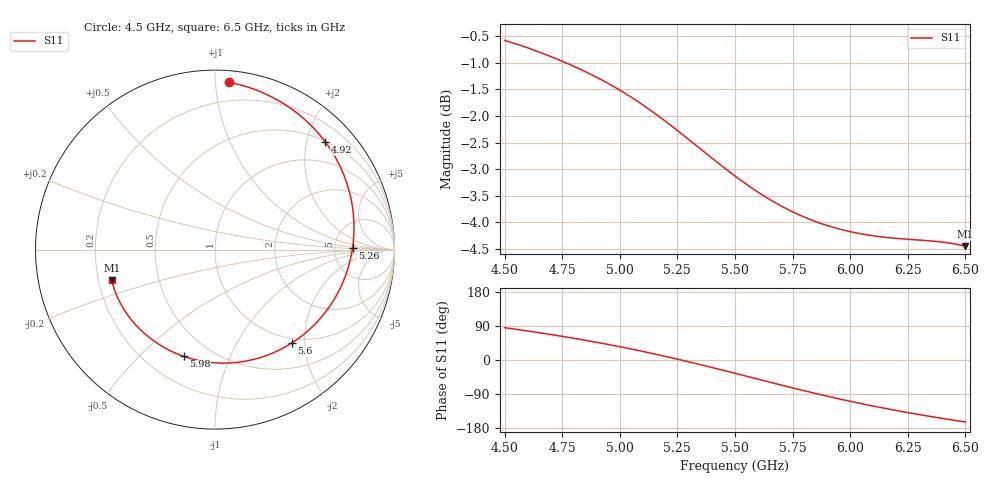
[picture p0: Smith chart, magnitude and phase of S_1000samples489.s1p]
! TOUCHSTONE file generated by CST MICROWAVE STUDIO
! Date and time: Fri Oct 28 08:24:35 2022
! Project name: L.cst
! Parameters = {Di=1.27; Epsilon_r=1.56; InnerDiameter=1.27; Length=2; Lf=10; Lg=60; OuterConductorThickness=0.2921; OuterDiameter=3.6; Wf=3; Wp=41.2; de=1.5; df=6.8; g=0.8; gx=3.86489; gy=2.49784; h=2.34; hf=1.524; px=12.5107; py=8.75073; w=9.7; wx=8.64582; wy=6.25288}
! Header version: 2018
! Port assignment regex: !\s*Touchstone port\s*([0-9]+)\s*=\s*(CST MWS port|CST DS port)\s*([0-9]+|Zmin|Zmax)\s*\(\"(.*)\"\)(\s*mode\s*([0-9]+))?.*
! Touchstone port assignment:
! Touchstone port 1 = CST MWS port 1 ("")
# GHz S DB R 50
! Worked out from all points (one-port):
!   101 points, 4.5 GHz to 6.5 GHz, reference 50 ohm
!   lowest |S11| = -4.4 dB at 6.5 GHz (marker M1), VSWR 3.99, Z = 12.8 - j6.77 ohm
!   |S11| at or under -10 dB: nowhere
!   S11 on the Smith chart (normalised r, x): 4.5 GHz: 0.07, +1.08; 4.92 GHz: 0.52, +2.36; 5.26 GHz: 7.55, +0.38; 5.6 GHz: 0.91, -1.74; 5.98 GHz: 0.36, -0.69; 6.5 GHz: 0.26, -0.14
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4.5  -0.58 85.3
4.58  -0.69 78.3
4.64  -0.79 72.9
4.76  -0.99 61.4
4.84  -1.15 53.1
4.92  -1.32 44.3
5  -1.52 35.0
5.08  -1.74 25.1
5.14  -1.91 17.3
5.2  -2.11 9.2
5.26  -2.31 0.8
5.32  -2.51 -7.9
5.38  -2.72 -16.8
5.44  -2.93 -25.8
5.5  -3.13 -35.0
5.56  -3.31 -44.3
5.6  -3.43 -50.5
5.68  -3.64 -62.9
5.76  -3.82 -75.1
5.86  -4.00 -89.8
5.92  -4.08 -98.2
5.98  -4.15 -106.3
6  -4.17 -109.0
6.12  -4.26 -124.0
6.18  -4.29 -131.0
6.26  -4.32 -139.8
6.38  -4.36 -152.1
6.5  -4.44 -163.5
